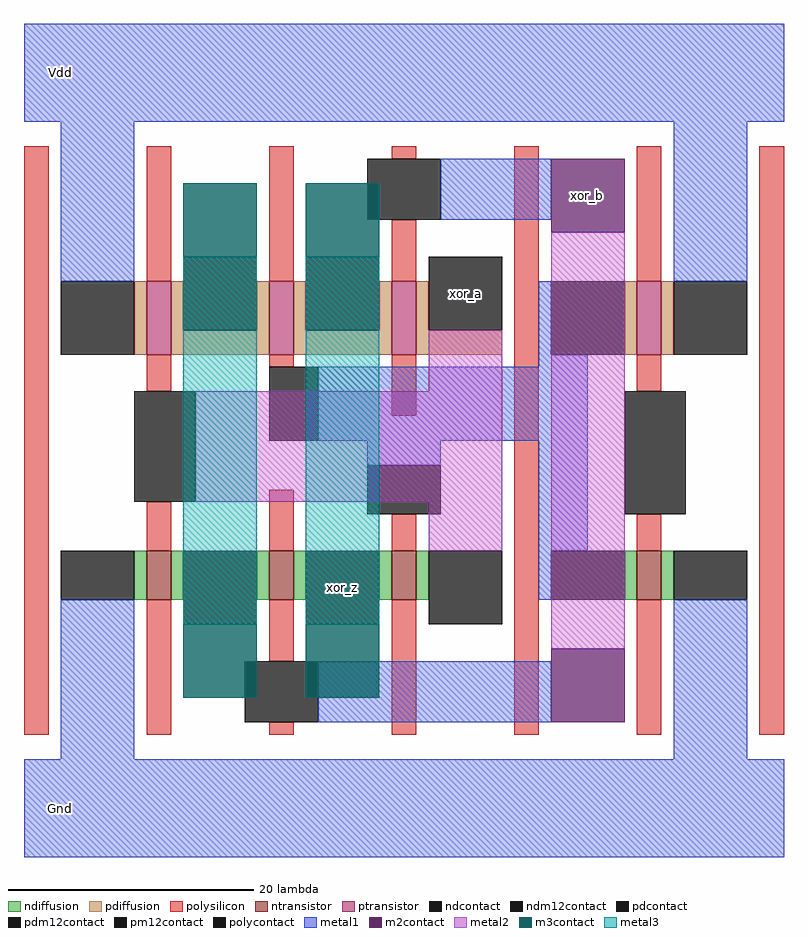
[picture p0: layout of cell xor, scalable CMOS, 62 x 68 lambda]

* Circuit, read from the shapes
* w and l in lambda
.subckt xor Gnd Vdd xor_a xor_b xor_z
M1 n1 xor_a Gnd VSUBS nfet w=4 l=2
M2 xor_z xor_b n1 VSUBS nfet w=4 l=2
M3 xor_a n2 xor_z VSUBS nfet w=4 l=2
M4 Gnd xor_b n2 VSUBS nfet w=4 l=2
M5 n1 xor_a Vdd NWELL pfet w=6 l=2
M6 xor_z n2 n1 NWELL pfet w=6 l=2
M7 xor_a xor_b xor_z NWELL pfet w=6 l=2
M8 Vdd xor_b n2 NWELL pfet w=6 l=2
.ends

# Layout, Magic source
magic
tech scmos
<< ntransistor >>
rect 10 25 12 29
rect 20 25 22 29
rect 30 25 32 29
rect 50 25 52 29
<< ptransistor >>
rect 10 45 12 51
rect 20 45 22 51
rect 30 45 32 51
rect 50 45 52 51
<< ndiffusion >>
rect 9 25 10 29
rect 12 25 13 29
rect 19 25 20 29
rect 22 25 23 29
rect 29 25 30 29
rect 32 25 33 29
rect 49 25 50 29
rect 52 25 53 29
<< pdiffusion >>
rect 9 45 10 51
rect 12 47 13 51
rect 19 47 20 51
rect 12 45 20 47
rect 22 47 23 51
rect 29 47 30 51
rect 22 45 30 47
rect 32 47 33 51
rect 32 45 39 47
rect 49 45 50 51
rect 52 45 53 51
<< ndcontact >>
rect 3 25 9 29
rect 43 25 49 29
rect 53 25 59 29
<< pdcontact >>
rect 3 45 9 51
rect 43 45 49 51
rect 53 45 59 51
<< polysilicon >>
rect 0 14 2 62
rect 10 51 12 62
rect 20 51 22 62
rect 30 61 32 62
rect 30 51 32 56
rect 10 42 12 45
rect 20 44 22 45
rect 30 40 32 45
rect 10 29 12 33
rect 20 29 22 34
rect 30 29 32 32
rect 10 14 12 25
rect 20 20 22 25
rect 20 14 22 15
rect 30 14 32 25
rect 40 14 42 62
rect 50 51 52 62
rect 50 42 52 45
rect 50 29 52 32
rect 50 14 52 25
rect 60 14 62 62
<< polycontact >>
rect 28 56 34 61
rect 20 38 24 44
rect 28 32 34 36
rect 18 15 24 20
<< metal1 >>
rect 0 64 62 72
rect 3 51 9 64
rect 34 56 43 61
rect 53 51 59 64
rect 42 45 43 51
rect 42 44 46 45
rect 24 38 46 44
rect 28 36 34 38
rect 42 29 46 38
rect 3 12 9 25
rect 42 25 43 29
rect 24 15 43 20
rect 53 12 59 25
rect 0 4 62 12
<< m2contact >>
rect 43 55 49 61
rect 43 15 49 21
<< pm12contact >>
rect 9 33 14 42
rect 49 32 54 42
<< pdm12contact >>
rect 13 47 19 53
rect 23 47 29 53
rect 33 47 39 53
<< ndm12contact >>
rect 13 23 19 29
rect 23 23 29 29
rect 33 23 39 29
<< metal2 >>
rect 33 42 39 47
rect 14 33 39 42
rect 33 29 39 33
rect 43 21 49 55
<< m3contact >>
rect 13 53 19 59
rect 23 53 29 59
rect 13 17 19 23
rect 23 17 29 23
<< metal3 >>
rect 13 23 19 53
rect 23 23 29 53
<< labels >>
rlabel metal1 3 68 3 68 4 Vdd
rlabel metal1 3 8 3 8 2 Gnd
rlabel m2contact 46 58 46 58 1 xor_b
rlabel pdm12contact 36 50 36 50 1 xor_a
rlabel metal3 26 26 26 26 1 xor_z
<< end >>
